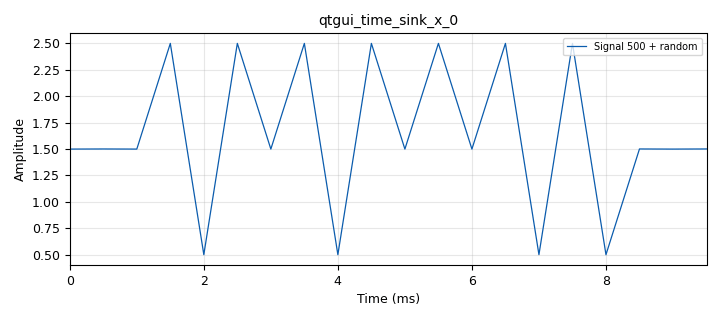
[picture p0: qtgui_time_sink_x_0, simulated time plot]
options:
  parameters:
    generate_options: qt_gui
    id: Actividad06
    output_language: python
    title: test06
  states: {}

blocks:
- name: samp_rate
  id: variable
  parameters:
    value: '2000'
  states: {}
- name: var01
  id: variable_qtgui_range
  parameters:
    start: '5000'
    step: '1'
    stop: '32000'
    value: '11000'
  states: {}
- name: analog_random_source_x_0
  id: analog_random_source_x
  parameters:
    max: '3'
    min: '1'
    num_samps: '1000'
    repeat: 'True'
    type: int
  states: {}
- name: analog_sig_source_x_0
  id: analog_sig_source_x
  parameters:
    amp: '1'
    freq: var01
    offset: '0'
    phase: '0'
    samp_rate: samp_rate
    type: float
    waveform: analog.GR_SIN_WAVE
  states: {}
- name: audio_sink_0
  id: audio_sink
  parameters:
    device_name: plughw:0,0
    samp_rate: samp_rate
  states: {}
- name: blocks_add_xx_0
  id: blocks_add_xx
  parameters:
    type: float
  states: {}
- name: blocks_int_to_float_0
  id: blocks_int_to_float
  parameters:
    scale: '1'
  states: {}
- name: blocks_throttle_0
  id: blocks_throttle
  parameters:
    samples_per_second: var01
    type: float
  states: {}
- name: qtgui_time_sink_x_0
  id: qtgui_time_sink_x
  parameters:
    autoscale: 'True'
    label1: Signal 500 + random
    size: '20'
    srate: samp_rate
    type: float
  states: {}

connections:
- [analog_random_source_x_0, '0', blocks_int_to_float_0, '0']
- [analog_sig_source_x_0, '0', blocks_add_xx_0, '1']
- [blocks_add_xx_0, '0', blocks_throttle_0, '0']
- [blocks_int_to_float_0, '0', blocks_add_xx_0, '0']
- [blocks_throttle_0, '0', audio_sink_0, '0']
- [blocks_throttle_0, '0', qtgui_time_sink_x_0, '0']

metadata:
  file_format: 1
